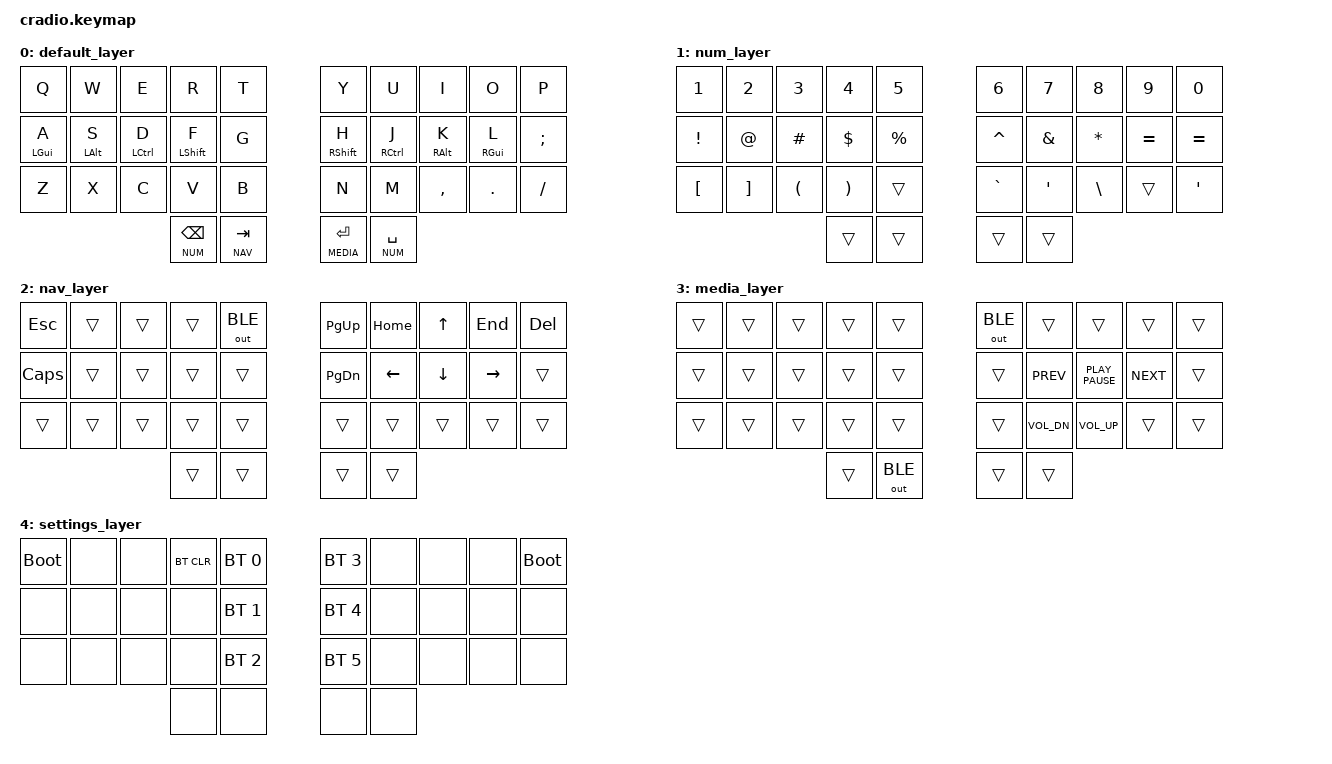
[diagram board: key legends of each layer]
/*
 * Copyright (c) 2020 The ZMK Contributors
 *
 * SPDX-License-Identifier: MIT
 */

#include <behaviors.dtsi>
#include <dt-bindings/zmk/keys.h>
#include <dt-bindings/zmk/bt.h>
#include <dt-bindings/zmk/outputs.h>

// Layer definitions
    #define BASE 0
    #define NUM 1
    #define NAV 2
    #define MEDIA 3
    #define SETTINGS 4
// -----------------

&mt {
   //  flavor = "tap-preferred";
   // tapping_term_ms = <200>;
};

&sk {
    ignore-modifiers;
};

/ {
    behaviors {
        bhm: balanced_homerow_mods {
            compatible = "zmk,behavior-hold-tap";
            label = "HOMEROW_MODS";
            #binding-cells = <2>;
            tapping-term-ms = <200>;    // <---[[moderate duration]]
            quick-tap-ms = <0>;
            flavor = "balanced";
            bindings = <&kp>, <&kp>;
        };
    };

    keymap {
            compatible = "zmk,keymap";

        // Base alpha layer
       		default_layer {
		bindings = <
		&kp Q &kp W &kp E &kp R &kp T                                              &kp Y &kp U  &kp I     &kp O   &kp P 
		&bhm LGUI A &bhm LALT S &bhm LCTRL D &bhm LSHIFT F &kp G           &bhm RSHIFT H &bhm RCTRL J &bhm RALT K &bhm RGUI L &kp SEMICOLON
		&kp Z &kp X &kp C &kp V &kp B                                              &kp N &kp M  &kp COMMA &kp DOT &kp SLASH
            &lt NUM BACKSPACE &lt NAV TAB                                         &lt MEDIA ENTER &lt NUM SPACE 
		>;
		};

        // Numbers and high frequency symbols
       		num_layer {
		bindings = <
		&kp N1 &kp N2 &kp N3 &kp N4 &kp N5		                        &kp N6 &kp N7 &kp N8 &kp N9 &kp N0
		&kp EXCL &kp AT &kp HASH &kp DOLLAR &kp PERCENT                 &kp CARET &kp AMPERSAND &kp ASTERISK &kp EQUAL &kp EQUAL
		&kp LEFT_BRACKET &kp RIGHT_BRACKET &kp LPAR &kp RPAR &trans 	&kp GRAVE &kp SINGLE_QUOTE &kp BACKSLASH &trans &kp APOSTROPHE
					                                  &trans &trans     &trans &trans
		>;
		};

        // Main modifiers and arrow keys
		    nav_layer {
		bindings = <
		&kp ESC &trans &trans &trans &out OUT_BLE     	    &kp PG_UP  &kp HOME &kp UP &kp END &kp DEL
		&kp CAPS &trans &trans &trans &trans        &kp PG_DN &kp LEFT  &kp DOWN  &kp RIGHT &trans
		&trans  &trans &trans &trans &trans         &trans &trans &trans &trans &trans
					          &trans &trans         &trans &trans 
		>;
		};

        // Function keys with modifiers
       		media_layer {
		bindings = <
		&trans  &trans &trans &trans &trans         &out OUT_BLE &trans &trans &trans &trans
		&trans  &trans &trans &trans &trans         &trans &kp K_PREV &kp K_PLAY_PAUSE &kp K_NEXT &trans
		&trans  &trans &trans &trans &trans			&trans &kp K_VOL_DN &kp K_VOL_UP &trans &trans 
          				      &trans &out OUT_BLE         &trans &trans  
		>;
		};

        // Used to change the keyboard's settings.
       		settings_layer {
		bindings = <
		&bootloader &none &none &bt BT_CLR &bt BT_SEL 0    &bt BT_SEL 3 &none &none &none &bootloader 
		&none &none &none &none &bt BT_SEL 1 			   &bt BT_SEL 4 &none &none &none &none
		&none &none &none &none &bt BT_SEL 2               &bt BT_SEL 5 &none &none &none &none
          				            &none &none            &none &none 
		>;
		};
        
	};
};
